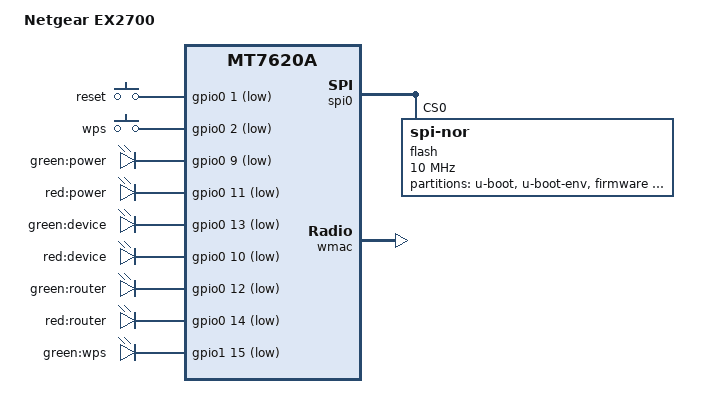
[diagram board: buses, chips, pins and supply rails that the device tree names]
// SPDX-License-Identifier: GPL-2.0-only
/*
 * Copyright (C) 2016 Joseph C. Lehner <joseph.c.lehner@gmail.com>
 */

#include "mt7620a.dtsi"

#include <dt-bindings/gpio/gpio.h>
#include <dt-bindings/input/input.h>

/ {
	compatible = "netgear,ex2700", "ralink,mt7620a-soc";
	model = "Netgear EX2700";

	aliases {
		led-boot = &led_power_green;
		led-failsafe = &led_power_green;
		led-running = &led_power_green;
		led-upgrade = &led_power_green;
	};

	keys {
		compatible = "gpio-keys";

		reset {
			label = "reset";
			gpios = <&gpio0 1 GPIO_ACTIVE_LOW>;
			linux,code = <KEY_RESTART>;
		};

		wps {
			label = "wps";
			gpios = <&gpio0 2 GPIO_ACTIVE_LOW>;
			linux,code = <KEY_WPS_BUTTON>;
		};
	};

	leds {
		compatible = "gpio-leds";

		led_power_green: power_g {
			label = "green:power";
			gpios = <&gpio0 9 GPIO_ACTIVE_LOW>;
			default-state = "on";
		};

		power_r {
			label = "red:power";
			gpios = <&gpio0 11 GPIO_ACTIVE_LOW>;
		};

		device_g {
			label = "green:device";
			gpios = <&gpio0 13 GPIO_ACTIVE_LOW>;
		};

		device_r {
			label = "red:device";
			gpios = <&gpio0 10 GPIO_ACTIVE_LOW>;
		};

		router_g {
			label = "green:router";
			gpios = <&gpio0 12 GPIO_ACTIVE_LOW>;
		};

		router_r {
			label = "red:router";
			gpios = <&gpio0 14 GPIO_ACTIVE_LOW>;
		};

		wps {
			label = "green:wps";
			gpios = <&gpio1 15 GPIO_ACTIVE_LOW>;
		};
	};
};

&gpio1 {
	status = "okay";
};

&spi0 {
	status = "okay";

	flash@0 {
		compatible = "jedec,spi-nor";
		reg = <0>;
		spi-max-frequency = <10000000>;

		partitions {
			compatible = "fixed-partitions";
			#address-cells = <1>;
			#size-cells = <1>;

			partition@0 {
				label = "u-boot";
				reg = <0x0 0x30000>;
				read-only;
			};

			partition@30000 {
				label = "u-boot-env";
				reg = <0x30000 0x10000>;
				read-only;
			};

			partition@40000 {
				compatible = "denx,uimage";
				label = "firmware";
				reg = <0x40000 0x3b0000>;
			};

			art: partition@3f0000 {
				label = "art";
				reg = <0x3f0000 0x10000>;
				read-only;
			};
		};
	};
};

&ethernet {
	nvmem-cells = <&macaddr_art_0>;
	nvmem-cell-names = "mac-address";
};

&wmac {
	ralink,mtd-eeprom = <&art 0x1000>;

	nvmem-cells = <&macaddr_art_6>;
	nvmem-cell-names = "mac-address";
};

&state_default {
	default {
		groups = "i2c", "uartf", "spi refclk";
		function = "gpio";
	};
};

&art {
	compatible = "nvmem-cells";
	#address-cells = <1>;
	#size-cells = <1>;

	macaddr_art_0: macaddr@0 {
		reg = <0x0 0x6>;
	};

	macaddr_art_6: macaddr@6 {
		reg = <0x6 0x6>;
	};
};
